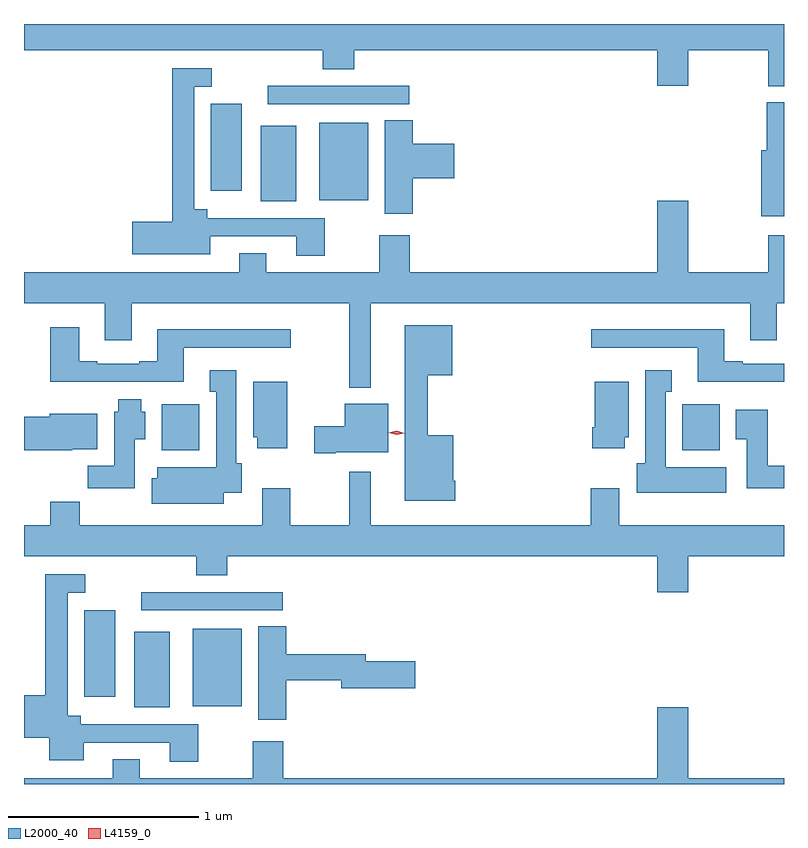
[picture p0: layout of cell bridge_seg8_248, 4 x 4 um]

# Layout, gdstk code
import gdstk
lib = gdstk.Library(unit=1e-6, precision=1e-09)
def R(c, l, rs):  # rectangles x0, y0, x1, y1
    for r in rs: c.add(gdstk.rectangle(r[:2], r[2:], *l))
def P(c, l, *ps):  # polygons
    for p in ps: c.add(gdstk.Polygon(p, *l))
L2000_40 = (2000, 40)
L4159_0 = (4159, 0)

bridge_seg8_248 = lib.new_cell('bridge_seg8_248')
R(bridge_seg8_248, L2000_40, [(330.086,1090.397,330.274,1090.795), (330.395,1090.403,330.652,1090.81), (329.825,1090.452,329.986,1090.909), (330.123,1090.908,330.868,1091.004), (330.233,1091.75,330.43,1091.992), (332.972,1091.75,333.169,1091.992), (330.752,1093.061,330.94,1093.459), (331.061,1093.067,331.318,1093.474), (330.491,1093.116,330.652,1093.573), (330.789,1093.572,331.534,1093.668)])
P(bridge_seg8_248, L2000_40, [(333.507,1093.994),(329.507,1093.994),(329.507,1093.856),(331.079,1093.856),(331.079,1093.757),(331.244,1093.757),(331.244,1093.856),(332.84,1093.856),(332.84,1093.668),(333.004,1093.668),(333.004,1093.856),(333.424,1093.856),(333.424,1093.667),(333.507,1093.667)],
  [(331.089,1092.972),(330.472,1092.972),(330.472,1093.018),(330.402,1093.018),(330.402,1093.665),(330.496,1093.665),(330.496,1093.761),(330.286,1093.761),(330.286,1092.953),(330.078,1092.953),(330.078,1092.782),(330.487,1092.782),(330.487,1092.876),(330.941,1092.876),(330.941,1092.774),(331.089,1092.774)],
  [(333.507,1093.582),(333.416,1093.582),(333.416,1093.329),(333.386,1093.329),(333.386,1092.981),(333.507,1092.981)],
  [(331.553,1093.181),(331.771,1093.181),(331.771,1093.364),(331.553,1093.364),(331.553,1093.487),(331.406,1093.487),(331.406,1092.996),(331.553,1092.996)],
  [(331.333,1092.524),(333.329,1092.524),(333.329,1092.33),(333.469,1092.33),(333.469,1092.524),(333.507,1092.524),(333.507,1092.883),(333.424,1092.883),(333.424,1092.688),(333.004,1092.688),(333.004,1093.063),(332.84,1093.063),(332.84,1092.688),(331.538,1092.688),(331.538,1092.883),(331.378,1092.883),(331.378,1092.688),(330.781,1092.688),(330.781,1092.787),(330.641,1092.787),(330.641,1092.688),(329.507,1092.688),(329.507,1092.524),(329.933,1092.524),(329.933,1092.33),(330.073,1092.33),(330.073,1092.524),(331.219,1092.524),(331.219,1092.08),(331.333,1092.08)],
  [(331.778,1091.59),(331.765,1091.59),(331.765,1091.83),(331.633,1091.83),(331.633,1092.146),(331.762,1092.146),(331.762,1092.409),(331.511,1092.409),(331.511,1091.486),(331.778,1091.486)],
  [(329.889,1092.111),(330.349,1092.111),(330.349,1092.291),(330.91,1092.291),(330.91,1092.388),(330.209,1092.388),(330.209,1092.22),(330.113,1092.22),(330.113,1092.207),(329.893,1092.207),(329.893,1092.22),(329.797,1092.22),(329.797,1092.397),(329.645,1092.397),(329.645,1092.11),(329.889,1092.11)],
  [(333.507,1092.207),(333.289,1092.207),(333.289,1092.22),(333.193,1092.22),(333.193,1092.388),(332.493,1092.388),(332.493,1092.291),(333.053,1092.291),(333.053,1092.11),(333.507,1092.11)],
  [(333.202,1091.662),(332.884,1091.662),(332.884,1092.059),(332.917,1092.059),(332.917,1092.172),(332.777,1092.172),(332.777,1091.682),(332.732,1091.682),(332.732,1091.528),(333.202,1091.528)],
  [(330.559,1091.528),(330.652,1091.528),(330.652,1091.682),(330.625,1091.682),(330.625,1092.172),(330.485,1092.172),(330.485,1092.059),(330.518,1092.059),(330.518,1091.662),(330.209,1091.662),(330.209,1091.603),(330.179,1091.603),(330.179,1091.468),(330.559,1091.468)],
  [(330.892,1092.112),(330.713,1092.112),(330.713,1091.82),(330.734,1091.82),(330.734,1091.76),(330.892,1091.76)],
  [(332.668,1091.82),(332.689,1091.82),(332.689,1092.112),(332.51,1092.112),(332.51,1091.872),(332.498,1091.872),(332.498,1091.76),(332.668,1091.76)],
  [(330.091,1091.809),(330.145,1091.809),(330.145,1091.952),(330.124,1091.952),(330.124,1092.019),(330.002,1092.019),(330.002,1091.952),(329.981,1091.952),(329.981,1091.668),(329.842,1091.668),(329.842,1091.55),(330.091,1091.55)],
  [(331.147,1091.741),(331.423,1091.741),(331.423,1091.995),(331.196,1091.995),(331.196,1091.876),(331.035,1091.876),(331.035,1091.734),(331.147,1091.734)],
  [(333.507,1091.668),(333.421,1091.668),(333.421,1091.965),(333.254,1091.965),(333.254,1091.809),(333.311,1091.809),(333.311,1091.55),(333.507,1091.55)],
  [(329.76,1091.756),(329.893,1091.756),(329.893,1091.944),(329.642,1091.944),(329.642,1091.927),(329.507,1091.927),(329.507,1091.75),(329.76,1091.75)],
  [(333.004,1091.192),(333.507,1091.192),(333.507,1091.356),(332.641,1091.356),(332.641,1091.551),(332.489,1091.551),(332.489,1091.356),(331.333,1091.356),(331.333,1091.638),(331.219,1091.638),(331.219,1091.356),(330.909,1091.356),(330.909,1091.551),(330.761,1091.551),(330.761,1091.356),(329.801,1091.356),(329.801,1091.48),(329.645,1091.48),(329.645,1091.356),(329.507,1091.356),(329.507,1091.192),(330.413,1091.192),(330.413,1091.093),(330.578,1091.093),(330.578,1091.192),(332.84,1091.192),(332.84,1091.004),(333.004,1091.004)],
  [(330.423,1090.308),(329.806,1090.308),(329.806,1090.354),(329.736,1090.354),(329.736,1091.001),(329.83,1091.001),(329.83,1091.097),(329.62,1091.097),(329.62,1090.46),(329.507,1090.46),(329.507,1090.238),(329.639,1090.238),(329.639,1090.118),(329.821,1090.118),(329.821,1090.212),(330.275,1090.212),(330.275,1090.11),(330.423,1090.11)],
  [(330.887,1090.54),(331.178,1090.54),(331.178,1090.498),(331.567,1090.498),(331.567,1090.64),(331.306,1090.64),(331.306,1090.676),(330.887,1090.676),(330.887,1090.823),(330.74,1090.823),(330.74,1090.332),(330.887,1090.332)],
  [(333.507,1090.024),(333.004,1090.024),(333.004,1090.399),(332.84,1090.399),(332.84,1090.024),(330.872,1090.024),(330.872,1090.219),(330.712,1090.219),(330.712,1090.024),(330.115,1090.024),(330.115,1090.123),(329.975,1090.123),(329.975,1090.024),(329.507,1090.024),(329.507,1089.994),(333.507,1089.994)])
P(bridge_seg8_248, L4159_0, [(331.468,1091.832),(331.428,1091.844),(331.428,1091.844),(331.428,1091.844),(331.469,1091.852),(331.509,1091.841),(331.509,1091.84),(331.509,1091.84)])

lib.write_gds('bridge_seg8_248.gds')
